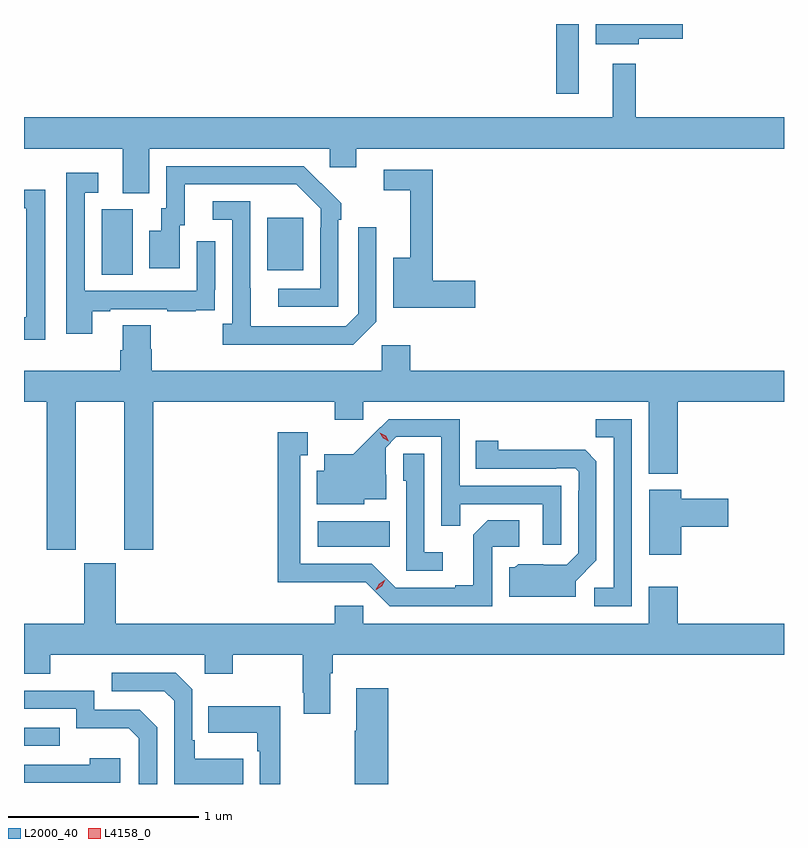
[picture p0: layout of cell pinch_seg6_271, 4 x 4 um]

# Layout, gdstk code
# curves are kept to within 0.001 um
import gdstk
lib = gdstk.Library(unit=1e-6, precision=1e-09)
def R(c, l, rs):  # rectangles x0, y0, x1, y1
    for r in rs: c.add(gdstk.rectangle(r[:2], r[2:], *l))
def P(c, l, *ps):  # polygons
    for p in ps: c.add(gdstk.Polygon(p, *l))
L2000_40 = (2000, 40)
L4158_0 = (4158, 0)

pinch_seg6_271 = lib.new_cell('pinch_seg6_271')
R(pinch_seg6_271, L2000_40, [(879.974,984.153,880.163,984.249), (881.52,985.202,881.9,985.336), (880.382,986.632,880.546,986.976), (881.255,986.657,881.443,986.932), (882.774,987.585,882.895,987.952)])
P(pinch_seg6_271, L2000_40, [(883.21,987.874),(883.441,987.874),(883.441,987.952),(882.983,987.952),(882.983,987.845),(883.21,987.845)],
  [(880.633,987.296),(881.583,987.296),(881.583,987.198),(881.722,987.198),(881.722,987.296),(883.974,987.296),(883.974,987.46),(883.195,987.46),(883.195,987.742),(883.073,987.742),(883.073,987.46),(879.974,987.46),(879.974,987.296),(880.493,987.296),(880.493,987.061),(880.633,987.061)],
  [(881.628,986.921),(881.643,986.921),(881.643,987.009),(881.446,987.204),(880.722,987.204),(880.722,986.982),(880.697,986.982),(880.697,986.863),(880.634,986.863),(880.634,986.667),(880.795,986.667),(880.795,986.892),(880.819,986.892),(880.819,987.108),(881.407,987.108),(881.535,986.979),(881.535,986.879),(881.532,986.879),(881.532,986.559),(881.313,986.559),(881.313,986.463),(881.628,986.463)],
  [(882.349,986.6),(882.125,986.6),(882.125,987.186),(881.868,987.186),(881.868,987.078),(882.008,987.078),(882.008,986.722),(881.918,986.722),(881.918,986.458),(882.349,986.458)],
  [(880.333,986.439),(880.429,986.439),(880.429,986.451),(880.729,986.451),(880.729,986.439),(880.877,986.439),(880.877,986.445),(880.979,986.445),(880.979,986.554),(880.98,986.554),(880.98,986.809),(880.884,986.809),(880.884,986.547),(880.293,986.547),(880.293,987.063),(880.366,987.063),(880.366,987.169),(880.197,987.169),(880.197,986.322),(880.333,986.322)],
  [(880.087,987.08),(879.974,987.08),(879.974,986.982),(879.986,986.982),(879.986,986.409),(879.974,986.409),(879.974,986.289),(880.087,986.289)],
  [(881.829,986.385),(881.829,986.881),(881.733,986.881),(881.733,986.427),(881.667,986.361),(881.167,986.361),(881.166,987.018),(880.968,987.018),(880.968,986.922),(881.07,986.922),(881.07,986.374),(881.019,986.374),(881.019,986.264),(881.708,986.264)],
  [(879.974,985.964),(880.094,985.964),(880.094,985.185),(880.246,985.185),(880.246,985.964),(880.502,985.964),(880.502,985.185),(880.655,985.185),(880.655,985.964),(881.609,985.964),(881.609,985.869),(881.76,985.869),(881.76,985.964),(883.262,985.964),(883.262,985.586),(883.415,985.586),(883.415,985.964),(883.974,985.964),(883.974,986.128),(882.008,986.128),(882.008,986.26),(881.856,986.26),(881.856,986.128),(880.646,986.128),(880.646,986.241),(880.641,986.241),(880.641,986.366),(880.493,986.366),(880.493,986.234),(880.481,986.234),(880.481,986.128),(879.974,986.128)],
  [(882.801,985.521),(882.267,985.521),(882.267,985.872),(881.894,985.872),(881.707,985.687),(881.555,985.687),(881.555,985.6),(881.516,985.6),(881.516,985.424),(881.766,985.424),(881.766,985.451),(881.881,985.451),(881.881,985.58),(881.877,985.58),(881.877,985.722),(881.934,985.779),(882.171,985.779),(882.171,985.312),(882.269,985.312),(882.269,985.425),(882.705,985.425),(882.705,985.212),(882.801,985.212)],
  [(883.173,985.872),(882.982,985.872),(882.982,985.777),(883.077,985.777),(883.077,984.984),(882.975,984.984),(882.975,984.888),(883.173,984.888)],
  [(882.438,985.2),(882.58,985.2),(882.58,985.34),(882.415,985.34),(882.339,985.264),(882.339,984.997),(882.245,984.997),(882.245,984.984),(881.931,984.984),(881.805,985.11),(881.428,985.11),(881.428,985.683),(881.467,985.683),(881.467,985.804),(881.31,985.804),(881.31,985.013),(881.772,985.014),(881.898,984.888),(882.438,984.888)],
  [(882.877,985.02),(882.987,985.13),(882.987,985.652),(882.928,985.711),(882.471,985.712),(882.471,985.759),(882.352,985.759),(882.352,985.611),(882.776,985.611),(882.776,985.614),(882.876,985.614),(882.894,985.596),(882.894,985.496),(882.891,985.496),(882.891,985.167),(882.831,985.107),(882.574,985.108),(882.558,985.092),(882.527,985.092),(882.527,984.938),(882.877,984.938)],
  [(882.178,985.171),(882.081,985.171),(882.081,985.691),(881.97,985.691),(881.97,985.548),(881.985,985.548),(881.985,985.074),(882.178,985.074)],
  [(883.432,985.307),(883.681,985.307),(883.681,985.454),(883.432,985.454),(883.432,985.501),(883.265,985.501),(883.265,985.158),(883.432,985.158)],
  [(881.587,984.536),(881.6,984.536),(881.6,984.632),(883.974,984.632),(883.974,984.796),(883.415,984.796),(883.415,984.991),(883.262,984.991),(883.262,984.796),(881.76,984.796),(881.76,984.889),(881.609,984.889),(881.609,984.796),(880.456,984.796),(880.456,985.113),(880.292,985.113),(880.292,984.796),(879.974,984.796),(879.974,984.533),(880.113,984.533),(880.113,984.632),(880.926,984.632),(880.926,984.533),(881.073,984.533),(881.073,984.632),(881.44,984.632),(881.44,984.433),(881.447,984.433),(881.447,984.321),(881.587,984.321)],
  [(881.129,984.085),(880.873,984.085),(880.873,984.181),(880.86,984.181),(880.86,984.45),(880.773,984.537),(880.437,984.537),(880.437,984.441),(880.713,984.441),(880.764,984.39),(880.764,983.952),(881.129,983.952)],
  [(881.891,984.457),(881.723,984.457),(881.723,984.233),(881.716,984.233),(881.716,983.952),(881.891,983.952)],
  [(880.674,984.252),(880.584,984.342),(880.344,984.342),(880.344,984.444),(879.974,984.444),(879.974,984.348),(880.248,984.348),(880.248,984.245),(880.525,984.245),(880.578,984.192),(880.578,983.952),(880.674,983.952)],
  [(881.323,984.361),(880.945,984.361),(880.945,984.221),(881.202,984.221),(881.202,984.125),(881.214,984.125),(881.214,983.952),(881.323,983.952)],
  [(880.48,984.088),(880.319,984.088),(880.319,984.054),(879.974,984.054),(879.974,983.958),(880.48,983.958)])
P(pinch_seg6_271, L4158_0, [(881.894,985.756),(881.864,985.771),(881.846,985.8),(881.846,985.801),(881.846,985.801),(881.877,985.786),(881.894,985.756),(881.894,985.756)],
  [(881.826,984.974),(881.826,984.975),(881.844,985.007),(881.875,985.026),(881.875,985.026),(881.875,985.026),(881.858,984.993),(881.827,984.974)])

lib.write_gds('pinch_seg6_271.gds')
